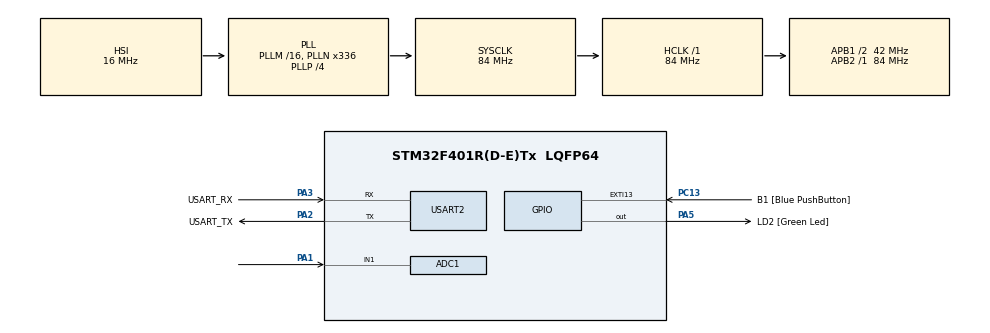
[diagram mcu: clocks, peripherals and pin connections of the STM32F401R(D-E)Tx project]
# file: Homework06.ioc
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ADC1.Channel-0\#ChannelRegularConversion=ADC_CHANNEL_1
ADC1.Channel-1\#ChannelRegularConversion=ADC_CHANNEL_TEMPSENSOR
ADC1.Channel-2\#ChannelRegularConversion=ADC_CHANNEL_VREFINT
ADC1.DMAContinuousRequests=ENABLE
ADC1.EOCSelection=ADC_EOC_SINGLE_CONV
ADC1.ExternalTrigConv=ADC_EXTERNALTRIGCONV_T3_TRGO
ADC1.NbrOfConversion=3
ADC1.NbrOfConversionFlag=1
ADC1.Rank-0\#ChannelRegularConversion=1
ADC1.Rank-1\#ChannelRegularConversion=2
ADC1.Rank-2\#ChannelRegularConversion=3
ADC1.SamplingTime-0\#ChannelRegularConversion=ADC_SAMPLETIME_480CYCLES
ADC1.SamplingTime-1\#ChannelRegularConversion=ADC_SAMPLETIME_480CYCLES
ADC1.SamplingTime-2\#ChannelRegularConversion=ADC_SAMPLETIME_480CYCLES
ADC1.ScanConvMode=ENABLE
ADC1.master=1
Dma.ADC1.0.Direction=DMA_PERIPH_TO_MEMORY
Dma.ADC1.0.FIFOMode=DMA_FIFOMODE_DISABLE
Dma.ADC1.0.Instance=DMA2_Stream0
Dma.ADC1.0.MemDataAlignment=DMA_MDATAALIGN_HALFWORD
Dma.ADC1.0.MemInc=DMA_MINC_ENABLE
Dma.ADC1.0.Mode=DMA_CIRCULAR
Dma.ADC1.0.PeriphDataAlignment=DMA_PDATAALIGN_HALFWORD
Dma.ADC1.0.PeriphInc=DMA_PINC_DISABLE
Dma.ADC1.0.Priority=DMA_PRIORITY_LOW
Dma.Request0=ADC1
Dma.Request1=USART2_TX
Dma.USART2_TX.1.Direction=DMA_MEMORY_TO_PERIPH
Dma.USART2_TX.1.FIFOMode=DMA_FIFOMODE_DISABLE
Dma.USART2_TX.1.Instance=DMA1_Stream6
Dma.USART2_TX.1.MemDataAlignment=DMA_MDATAALIGN_BYTE
Dma.USART2_TX.1.MemInc=DMA_MINC_ENABLE
Dma.USART2_TX.1.Mode=DMA_NORMAL
Dma.USART2_TX.1.PeriphDataAlignment=DMA_PDATAALIGN_BYTE
Dma.USART2_TX.1.PeriphInc=DMA_PINC_DISABLE
Dma.USART2_TX.1.Priority=DMA_PRIORITY_LOW
Mcu.Family=STM32F4
Mcu.Name=STM32F401R(D-E)Tx
Mcu.Package=LQFP64
NVIC.ADC_IRQn=true\:0\:0\:false\:false\:true\:true\:true\:true
NVIC.DMA1_Stream6_IRQn=true\:0\:0\:false\:false\:true\:false\:true\:true
NVIC.DMA2_Stream0_IRQn=true\:0\:0\:false\:false\:true\:false\:true\:true
NVIC.PriorityGroup=NVIC_PRIORITYGROUP_4
NVIC.USART2_IRQn=true\:0\:0\:false\:false\:true\:true\:true\:true
PA1.Signal=ADCx_IN1
PA13.GPIO_Label=TMS
PA13.Mode=Trace_Asynchronous_SW
PA13.Signal=SYS_JTMS-SWDIO
PA14.GPIO_Label=TCK
PA14.Mode=Trace_Asynchronous_SW
PA14.Signal=SYS_JTCK-SWCLK
PA2.GPIO_Label=USART_TX
PA2.GPIO_Mode=GPIO_MODE_AF_PP
PA2.GPIO_PuPd=GPIO_NOPULL
PA2.GPIO_Speed=GPIO_SPEED_FREQ_LOW
PA2.Mode=Asynchronous
PA2.Signal=USART2_TX
PA3.GPIO_Label=USART_RX
PA3.GPIO_Mode=GPIO_MODE_AF_PP
PA3.GPIO_PuPd=GPIO_NOPULL
PA3.GPIO_Speed=GPIO_SPEED_FREQ_LOW
PA3.Mode=Asynchronous
PA3.Signal=USART2_RX
PA5.GPIO_Label=LD2 [Green Led]
PA5.GPIO_Mode=GPIO_MODE_OUTPUT_PP
PA5.GPIO_PuPd=GPIO_NOPULL
PA5.GPIO_Speed=GPIO_SPEED_FREQ_LOW
PA5.Signal=GPIO_Output
PB3.GPIO_Label=SWO
PB3.Mode=Trace_Asynchronous_SW
PB3.Signal=SYS_JTDO-SWO
PC13-ANTI_TAMP.GPIO_Label=B1 [Blue PushButton]
PC13-ANTI_TAMP.GPIO_ModeDefaultEXTI=GPIO_MODE_IT_FALLING
PC13-ANTI_TAMP.GPIO_PuPd=GPIO_NOPULL
PC13-ANTI_TAMP.Signal=GPXTI13
PC14-OSC32_IN.Mode=LSE-External-Oscillator
PC14-OSC32_IN.Signal=RCC_OSC32_IN
PC15-OSC32_OUT.Mode=LSE-External-Oscillator
PC15-OSC32_OUT.Signal=RCC_OSC32_OUT
PH0\ -\ OSC_IN.Mode=HSE-External-Clock-Source
PH0\ -\ OSC_IN.Signal=RCC_OSC_IN
PH1\ -\ OSC_OUT.Mode=HSE-External-Clock-Source
PH1\ -\ OSC_OUT.Signal=RCC_OSC_OUT
ProjectManager.HeapSize=0x200
ProjectManager.StackSize=0x400
ProjectManager.TargetToolchain=STM32CubeIDE
RCC.48MHZClocksFreq_Value=48000000
RCC.AHBFreq_Value=84000000
RCC.APB1CLKDivider=RCC_HCLK_DIV2
RCC.APB1Freq_Value=42000000
RCC.APB1TimFreq_Value=84000000
RCC.APB2Freq_Value=84000000
RCC.APB2TimFreq_Value=84000000
RCC.CortexFreq_Value=84000000
RCC.HCLKFreq_Value=84000000
RCC.HSE_VALUE=8000000
RCC.HSI_VALUE=16000000
RCC.PLLN=336
RCC.PLLP=RCC_PLLP_DIV4
RCC.PLLQ=7
RCC.SYSCLKFreq_VALUE=84000000
RCC.SYSCLKSource=RCC_SYSCLKSOURCE_PLLCLK
RCC.VCOOutputFreq_Value=336000000
SH.ADCx_IN1.0=ADC1_IN1,IN1
TIM3.Period=9999
TIM3.Prescaler=8399
TIM3.TIM_MasterOutputTrigger=TIM_TRGO_UPDATE
USART2.VirtualMode=VM_ASYNC
VP_ADC1_TempSens_Input.Mode=IN-TempSens
VP_ADC1_Vref_Input.Mode=IN-Vrefint
VP_TIM3_VS_ClockSourceINT.Mode=Internal
board=NUCLEO-F401RE

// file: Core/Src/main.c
/* USER CODE BEGIN Header */
/**
  ******************************************************************************
  * @file           : main.c
  * @brief          : Main program body
  ******************************************************************************
  * @attention
  *
  * Copyright (c) 2025 STMicroelectronics.
  * All rights reserved.
  *
  * This software is licensed under terms that can be found in the LICENSE file
  * in the root directory of this software component.
  * If no LICENSE file comes with this software, it is provided AS-IS.
  *
  ******************************************************************************
  */
/* USER CODE END Header */
#include "main.h"

/* USER CODE BEGIN Includes */
#include <stdio.h>
/* USER CODE END Includes */

/* USER CODE BEGIN PD */
#define ACQUISITIONS 3
#define VDD 3.3f
#define VSS 0.0f
#define RESOLUTION 12		// resolution of ADC [bits]
#define V25 0.76f			// voltage at 25°C [V]
#define AVG_SLOPE 0.0025f	// temperature sensor average slope [V/°C]
#define ADC_LEVELS 4096.0f	// number of levels of ADC [2^12]
#define FSR VDD-VSS

/* USER CODE END PD */

ADC_HandleTypeDef hadc1;
DMA_HandleTypeDef hdma_adc1;

TIM_HandleTypeDef htim3;

UART_HandleTypeDef huart2;
DMA_HandleTypeDef hdma_usart2_tx;

void SystemClock_Config(void);
static void MX_GPIO_Init(void);
static void MX_DMA_Init(void);
static void MX_USART2_UART_Init(void);
static void MX_ADC1_Init(void);
static void MX_TIM3_Init(void);

/* USER CODE BEGIN 0 */

uint16_t voltages[ACQUISITIONS];

void HAL_ADC_ConvCpltCallback(ADC_HandleTypeDef *hadc){
	float vpot = (voltages[0] * FSR) / ADC_LEVELS;
	float temp = ((voltages[1] * FSR) / ADC_LEVELS - V25) / AVG_SLOPE + 25.0;
	float Vref = (voltages[2] * FSR) / ADC_LEVELS;

	static char string[250];
	snprintf(string, sizeof(string), "The potentiometer value is : %.2f V, the temperature is : %.2f °C and the reference voltage is %.2f V \r\n", vpot, temp, Vref);

	HAL_UART_Transmit_DMA(&huart2, (uint8_t *)string, sizeof(string));
}

/* USER CODE END 0 */

int main(void)
{

  /* MCU Configuration--------------------------------------------------------*/

  /* Reset of all peripherals, Initializes the Flash interface and the Systick. */
  HAL_Init();

  /* Configure the system clock */
  SystemClock_Config();

  /* Initialize all configured peripherals */
  MX_GPIO_Init();
  MX_DMA_Init();
  MX_USART2_UART_Init();
  MX_ADC1_Init();
  MX_TIM3_Init();
  /* USER CODE BEGIN 2 */
  HAL_TIM_Base_Start(&htim3);
  HAL_ADC_Start_DMA(&hadc1, (uint32_t *)voltages, ACQUISITIONS);

  /* USER CODE END 2 */

  /* Infinite loop */
  while (1)
  {

  }
}

void SystemClock_Config(void)
{
  RCC_OscInitTypeDef RCC_OscInitStruct = {0};
  RCC_ClkInitTypeDef RCC_ClkInitStruct = {0};

  /** Configure the main internal regulator output voltage
  */
  __HAL_RCC_PWR_CLK_ENABLE();
  __HAL_PWR_VOLTAGESCALING_CONFIG(PWR_REGULATOR_VOLTAGE_SCALE2);

  /** Initializes the RCC Oscillators according to the specified parameters
  * in the RCC_OscInitTypeDef structure.
  */
  RCC_OscInitStruct.OscillatorType = RCC_OSCILLATORTYPE_HSI;
  RCC_OscInitStruct.HSIState = RCC_HSI_ON;
  RCC_OscInitStruct.HSICalibrationValue = RCC_HSICALIBRATION_DEFAULT;
  RCC_OscInitStruct.PLL.PLLState = RCC_PLL_ON;
  RCC_OscInitStruct.PLL.PLLSource = RCC_PLLSOURCE_HSI;
  RCC_OscInitStruct.PLL.PLLM = 16;
  RCC_OscInitStruct.PLL.PLLN = 336;
  RCC_OscInitStruct.PLL.PLLP = RCC_PLLP_DIV4;
  RCC_OscInitStruct.PLL.PLLQ = 7;
  if (HAL_RCC_OscConfig(&RCC_OscInitStruct) != HAL_OK)
  {
    Error_Handler();
  }

  /** Initializes the CPU, AHB and APB buses clocks
  */
  RCC_ClkInitStruct.ClockType = RCC_CLOCKTYPE_HCLK|RCC_CLOCKTYPE_SYSCLK
                              |RCC_CLOCKTYPE_PCLK1|RCC_CLOCKTYPE_PCLK2;
  RCC_ClkInitStruct.SYSCLKSource = RCC_SYSCLKSOURCE_PLLCLK;
  RCC_ClkInitStruct.AHBCLKDivider = RCC_SYSCLK_DIV1;
  RCC_ClkInitStruct.APB1CLKDivider = RCC_HCLK_DIV2;
  RCC_ClkInitStruct.APB2CLKDivider = RCC_HCLK_DIV1;

  if (HAL_RCC_ClockConfig(&RCC_ClkInitStruct, FLASH_LATENCY_2) != HAL_OK)
  {
    Error_Handler();
  }
}

static void MX_ADC1_Init(void)
{

  ADC_ChannelConfTypeDef sConfig = {0};

  /** Configure the global features of the ADC (Clock, Resolution, Data Alignment and number of conversion)
  */
  hadc1.Instance = ADC1;
  hadc1.Init.ClockPrescaler = ADC_CLOCK_SYNC_PCLK_DIV4;
  hadc1.Init.Resolution = ADC_RESOLUTION_12B;
  hadc1.Init.ScanConvMode = ENABLE;
  hadc1.Init.ContinuousConvMode = DISABLE;
  hadc1.Init.DiscontinuousConvMode = DISABLE;
  hadc1.Init.ExternalTrigConvEdge = ADC_EXTERNALTRIGCONVEDGE_RISING;
  hadc1.Init.ExternalTrigConv = ADC_EXTERNALTRIGCONV_T3_TRGO;
  hadc1.Init.DataAlign = ADC_DATAALIGN_RIGHT;
  hadc1.Init.NbrOfConversion = 3;
  hadc1.Init.DMAContinuousRequests = ENABLE;
  hadc1.Init.EOCSelection = ADC_EOC_SINGLE_CONV;
  if (HAL_ADC_Init(&hadc1) != HAL_OK)
  {
    Error_Handler();
  }

  /** Configure for the selected ADC regular channel its corresponding rank in the sequencer and its sample time.
  */
  sConfig.Channel = ADC_CHANNEL_1;
  sConfig.Rank = 1;
  sConfig.SamplingTime = ADC_SAMPLETIME_480CYCLES;
  if (HAL_ADC_ConfigChannel(&hadc1, &sConfig) != HAL_OK)
  {
    Error_Handler();
  }

  /** Configure for the selected ADC regular channel its corresponding rank in the sequencer and its sample time.
  */
  sConfig.Channel = ADC_CHANNEL_TEMPSENSOR;
  sConfig.Rank = 2;
  if (HAL_ADC_ConfigChannel(&hadc1, &sConfig) != HAL_OK)
  {
    Error_Handler();
  }

  /** Configure for the selected ADC regular channel its corresponding rank in the sequencer and its sample time.
  */
  sConfig.Channel = ADC_CHANNEL_VREFINT;
  sConfig.Rank = 3;
  if (HAL_ADC_ConfigChannel(&hadc1, &sConfig) != HAL_OK)
  {
    Error_Handler();
  }

}

static void MX_TIM3_Init(void)
{

  TIM_ClockConfigTypeDef sClockSourceConfig = {0};
  TIM_MasterConfigTypeDef sMasterConfig = {0};

  htim3.Instance = TIM3;
  htim3.Init.Prescaler = 8399;
  htim3.Init.CounterMode = TIM_COUNTERMODE_UP;
  htim3.Init.Period = 9999;
  htim3.Init.ClockDivision = TIM_CLOCKDIVISION_DIV1;
  htim3.Init.AutoReloadPreload = TIM_AUTORELOAD_PRELOAD_DISABLE;
  if (HAL_TIM_Base_Init(&htim3) != HAL_OK)
  {
    Error_Handler();
  }
  sClockSourceConfig.ClockSource = TIM_CLOCKSOURCE_INTERNAL;
  if (HAL_TIM_ConfigClockSource(&htim3, &sClockSourceConfig) != HAL_OK)
  {
    Error_Handler();
  }
  sMasterConfig.MasterOutputTrigger = TIM_TRGO_UPDATE;
  sMasterConfig.MasterSlaveMode = TIM_MASTERSLAVEMODE_DISABLE;
  if (HAL_TIMEx_MasterConfigSynchronization(&htim3, &sMasterConfig) != HAL_OK)
  {
    Error_Handler();
  }

}

static void MX_USART2_UART_Init(void)
{

  huart2.Instance = USART2;
  huart2.Init.BaudRate = 115200;
  huart2.Init.WordLength = UART_WORDLENGTH_8B;
  huart2.Init.StopBits = UART_STOPBITS_1;
  huart2.Init.Parity = UART_PARITY_NONE;
  huart2.Init.Mode = UART_MODE_TX_RX;
  huart2.Init.HwFlowCtl = UART_HWCONTROL_NONE;
  huart2.Init.OverSampling = UART_OVERSAMPLING_16;
  if (HAL_UART_Init(&huart2) != HAL_OK)
  {
    Error_Handler();
  }

}

static void MX_DMA_Init(void)
{

  /* DMA controller clock enable */
  __HAL_RCC_DMA2_CLK_ENABLE();
  __HAL_RCC_DMA1_CLK_ENABLE();

  /* DMA interrupt init */
  /* DMA1_Stream6_IRQn interrupt configuration */
  HAL_NVIC_SetPriority(DMA1_Stream6_IRQn, 0, 0);
  HAL_NVIC_EnableIRQ(DMA1_Stream6_IRQn);
  /* DMA2_Stream0_IRQn interrupt configuration */
  HAL_NVIC_SetPriority(DMA2_Stream0_IRQn, 0, 0);
  HAL_NVIC_EnableIRQ(DMA2_Stream0_IRQn);

}

static void MX_GPIO_Init(void)
{
  GPIO_InitTypeDef GPIO_InitStruct = {0};

  /* GPIO Ports Clock Enable */
  __HAL_RCC_GPIOC_CLK_ENABLE();
  __HAL_RCC_GPIOH_CLK_ENABLE();
  __HAL_RCC_GPIOA_CLK_ENABLE();
  __HAL_RCC_GPIOB_CLK_ENABLE();

  /*Configure GPIO pin Output Level */
  HAL_GPIO_WritePin(LD2_GPIO_Port, LD2_Pin, GPIO_PIN_RESET);

  /*Configure GPIO pin : B1_Pin */
  GPIO_InitStruct.Pin = B1_Pin;
  GPIO_InitStruct.Mode = GPIO_MODE_IT_FALLING;
  GPIO_InitStruct.Pull = GPIO_NOPULL;
  HAL_GPIO_Init(B1_GPIO_Port, &GPIO_InitStruct);

  /*Configure GPIO pin : LD2_Pin */
  GPIO_InitStruct.Pin = LD2_Pin;
  GPIO_InitStruct.Mode = GPIO_MODE_OUTPUT_PP;
  GPIO_InitStruct.Pull = GPIO_NOPULL;
  GPIO_InitStruct.Speed = GPIO_SPEED_FREQ_LOW;
  HAL_GPIO_Init(LD2_GPIO_Port, &GPIO_InitStruct);

}

void Error_Handler(void)
{
  __disable_irq();
  while (1)
  {
  }
}
